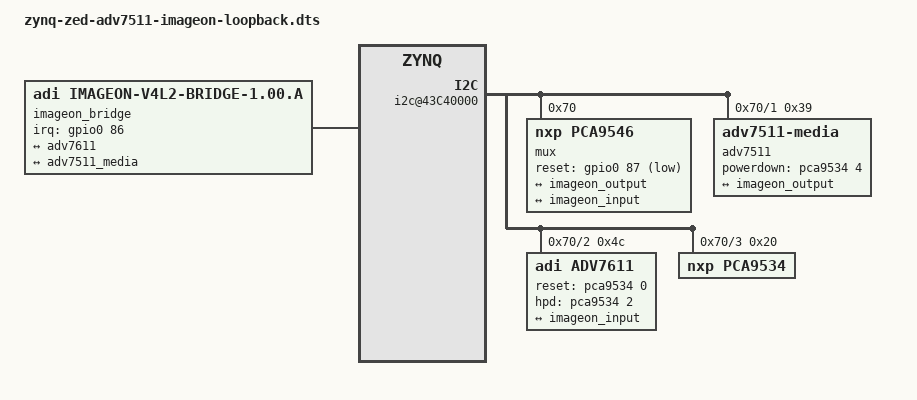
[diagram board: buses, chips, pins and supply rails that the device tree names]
/dts-v1/;

/include/ "zynq-zed.dtsi"
/include/ "zynq-zed-adv7511.dtsi"
#include <dt-bindings/gpio/gpio.h>

/ {
	fpga_axi: fpga-axi@0 {
		compatible = "simple-bus";
		#address-cells = <0x1>;
		#size-cells = <0x1>;
		ranges;

		i2c@43C40000 {
			compatible = "xlnx,axi-iic-1.01.b", "xlnx,xps-iic-2.00.a";
			interrupt-parent = <&intc>;
			interrupts = <0 55 0x4>;
			reg = <0x43C40000 0x10000>;

			#size-cells = <0>;
			#address-cells = <1>;

			mux@70 {
				compatible = "nxp,pca9546";
				reg = <0x70>;
				reset-gpio = <&gpio0 87 1>;
				#address-cells = <1>;
				#size-cells = <0>;
				i2c@1 {
					#size-cells = <0>;
					#address-cells = <1>;
					reg = <1>;

					adv7511@39 {
						compatible = "adv7511-media";
						reg = <0x39>;

						powerdown-gpio = <&pca9534 4 GPIO_ACTIVE_HIGH>;

						edid-addr = <0x50>;

						video-input {
							input-id = <2>;
							input-style = <1>;
							input-color-depth = <8>;
							bit-justification = <2>;
							hsync-polarity = <0>;
							vsync-polarity = <0>;
							clock-delay = <3>;
						};

						video-output {
							hdmi-mode = <0>;
							output-format = <0>;
							output-color-space = <0>;
							up-conversion = <0>;
							csc-enable = <1>;
							csc-scaling-factor = <2>;
							csc-coefficients {
								a1 = <0x0B37>;
								a2 = <0x0800>;
								a3 = <0x0000>;
								a4 = <0x1A86>;
								b1 = <0x1A49>;
								b2 = <0x0800>;
								b3 = <0x1D3F>;
								b4 = <0x0422>;
								c1 = <0x0000>;
								c2 = <0x0800>;
								c3 = <0x0E2D>;
								c4 = <0x1914>;
							};
						};

						port {
							adv7511_media: endpoint {
								remote-endpoint = <&imageon_output>;
							};
						};

					};
				};

				i2c@2 {
					#size-cells = <0>;
					#address-cells = <1>;
					reg = <2>;

					adv7611@4c {
						compatible = "adi,adv7611";
						reg = <0x4c>;
						#address-cells = <0x1>;
						#size-cells = <0x0>;

						reset-gpios = <&pca9534 0 0>;
						hpd-gpios = <&pca9534 2 0>;

						port@0 {
							reg = <0x0>;
						};

						port@1 {
							reg = <0x1>;
							adv7611: endpoint {
								remote-endpoint = <&imageon_input>;
							};
						};
					};
				};

				i2c@3 {
					#size-cells = <0>;
					#address-cells = <1>;
					reg = <3>;

					pca9534: pca9534@20 {
						compatible = "nxp,pca9534";
						reg = <0x20>;
						gpio-controller;
						#gpio-cells = <2>;
					};
				};
			};
		};

		imageon_bridge {
			compatible = "adi,imageon-v4l2-bridge-1.00.a";

			interrupt-parent = <&gpio0>;
			interrupts = <86 0>;

			ports {
				#address-cells = <1>;
				#size-cells = <0>;

				port@0 {
				    reg = <0>;
				    imageon_input: endpoint {
				        remote-endpoint = <&adv7611>;
				    };
				};

				port@1 {
				    reg = <1>;
				    imageon_output: endpoint {
				        remote-endpoint = <&adv7511_media>;
				    };
				};
			};
		};
	};
};
